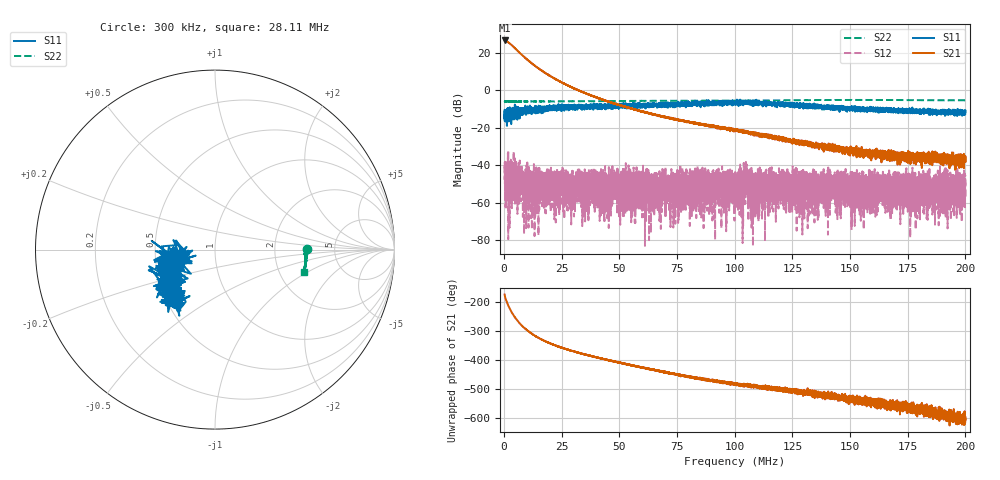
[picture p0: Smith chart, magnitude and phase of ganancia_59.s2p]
# Hz S DB R 50
! CMT, M5065, 19127446, 24.2.4/2
! Date: 11/8/2024 5:35:20 PM
! Data: Format (Calibration Info)
! Freq	S11:dB/Ang(F2)	S21:dB/Ang(F2)	S12:dB/Ang(F2)	S22:dB/Ang(F2)
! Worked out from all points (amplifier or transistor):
!   9000 points, 300 kHz to 200 MHz, reference 50 ohm
!   highest |S21| = 26.7 dB at 388.8 kHz (marker M1)
!   |S21| within 3 dB of that: start of sweep to 3.801 MHz
!   unconditionally stable (mu >= 1): start of sweep to 1.852 MHz; 1.854 MHz to end of sweep
!   at 33.59 MHz: K = 284.27, MAG = 1.4 dB, |S12| = -58.5 dB
!   at 100.2 MHz: K = 578.21, MAG = -18.6 dB, |S12| = -45.2 dB
!   at 200 MHz: K = 4758.50, MAG = -36.3 dB, |S12| = -45.1 dB
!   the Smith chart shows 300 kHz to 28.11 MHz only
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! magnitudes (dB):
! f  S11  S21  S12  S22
! 300 kHz  -11.7  26.6  -39.9  -5.8
! 388.8 kHz  -16.4  26.7  -38.3  -5.7
! 1.898 MHz  -14.4  25.7  -46.6  -5.8
! 7.068 MHz  -11.2  19.9  -44.0  -5.8
! 12.77 MHz  -9.7  13.8  -52.2  -5.8
! 33.59 MHz  -8.5  -0.6  -58.5  -5.8
! 43.95 MHz  -7.3  -5.3  -47.8  -5.7
! 45.57 MHz  -8.8  -6.0  -52.7  -5.7
! 47.97 MHz  -8.2  -6.9  -44.7  -5.6
! 66.87 MHz  -8.0  -13.3  -51.0  -5.5
! 100.2 MHz  -6.8  -21.1  -45.2  -5.4
! 103.6 MHz  -6.0  -21.9  -52.6  -5.4
! 104.8 MHz  -6.6  -21.7  -40.1  -5.4
! 108.3 MHz  -6.8  -22.7  -45.4  -5.4
! 119.6 MHz  -7.5  -25.3  -48.0  -5.3
! 127.2 MHz  -8.3  -27.1  -46.7  -5.2
! 133.4 MHz  -8.6  -29.1  -50.8  -5.2
! 152.7 MHz  -9.4  -33.8  -51.5  -5.1
! 162.9 MHz  -10.0  -34.1  -45.2  -5.1
! 166.7 MHz  -10.9  -31.7  -45.1  -5.1
! 198.8 MHz  -10.8  -35.8  -49.9  -5.3
! 200 MHz  -11.4  -38.2  -45.1  -5.2
